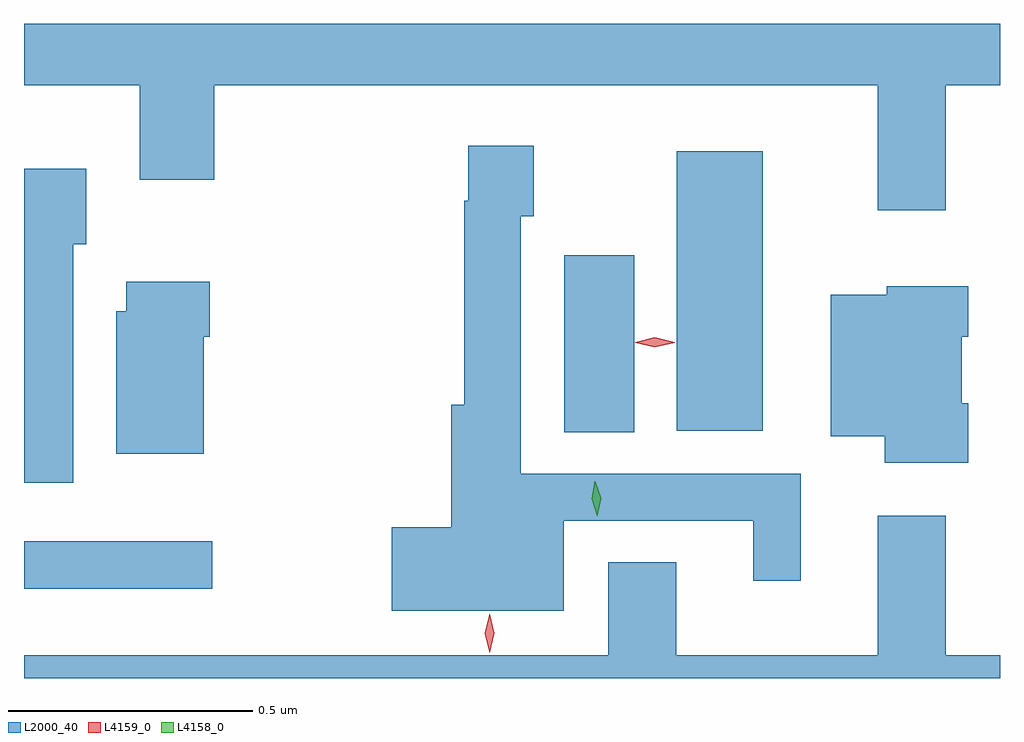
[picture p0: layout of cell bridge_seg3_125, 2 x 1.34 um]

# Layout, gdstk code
import gdstk
lib = gdstk.Library(unit=1e-6, precision=1e-09)
def R(c, l, rs):  # rectangles x0, y0, x1, y1
    for r in rs: c.add(gdstk.rectangle(r[:2], r[2:], *l))
def P(c, l, *ps):  # polygons
    for p in ps: c.add(gdstk.Polygon(p, *l))
L2000_40 = (2000, 40)
L4158_0 = (4158, 0)
L4159_0 = (4159, 0)

bridge_seg3_125 = lib.new_cell('bridge_seg3_125')
R(bridge_seg3_125, L2000_40, [(186.89,666.584,187.276,666.681), (187.997,666.904,188.14,667.267), (188.228,666.908,188.404,667.48)])
P(bridge_seg3_125, L2000_40, [(188.779,667.616),(188.89,667.616),(188.89,667.742),(186.89,667.742),(186.89,667.616),(187.127,667.616),(187.127,667.422),(187.28,667.422),(187.28,667.616),(188.639,667.616),(188.639,667.359),(188.779,667.359)],
  [(187.996,666.723),(188.384,666.723),(188.384,666.6),(188.482,666.6),(188.482,666.819),(187.908,666.819),(187.908,667.347),(187.935,667.347),(187.935,667.492),(187.8,667.492),(187.8,667.379),(187.792,667.379),(187.792,666.961),(187.766,666.961),(187.766,666.71),(187.644,666.71),(187.644,666.539),(187.996,666.539)],
  [(186.991,667.29),(187.018,667.29),(187.018,667.444),(186.89,667.444),(186.89,666.801),(186.991,666.801)],
  [(187.258,667.1),(187.271,667.1),(187.271,667.213),(187.1,667.213),(187.1,667.152),(187.079,667.152),(187.079,666.86),(187.258,666.86)],
  [(188.825,666.964),(188.812,666.964),(188.812,667.1),(188.825,667.1),(188.825,667.204),(188.658,667.204),(188.658,667.186),(188.543,667.186),(188.543,666.896),(188.654,666.896),(188.654,666.842),(188.825,666.842)],
  [(188.89,666.448),(188.779,666.448),(188.779,666.733),(188.639,666.733),(188.639,666.448),(188.227,666.448),(188.227,666.638),(188.087,666.638),(188.087,666.448),(186.89,666.448),(186.89,666.4),(188.89,666.4)])
P(bridge_seg3_125, L4158_0, [(188.065,666.732),(188.065,666.732),(188.053,666.768),(188.06,666.804),(188.061,666.804),(188.061,666.804),(188.073,666.769),(188.065,666.732)])
P(bridge_seg3_125, L4159_0, [(188.183,667.079),(188.143,667.088),(188.143,667.089),(188.143,667.089),(188.183,667.099),(188.224,667.089),(188.224,667.089),(188.224,667.088)],
  [(187.844,666.453),(187.844,666.453),(187.834,666.493),(187.844,666.533),(187.844,666.533),(187.844,666.533),(187.854,666.493),(187.844,666.453)])

lib.write_gds('bridge_seg3_125.gds')
